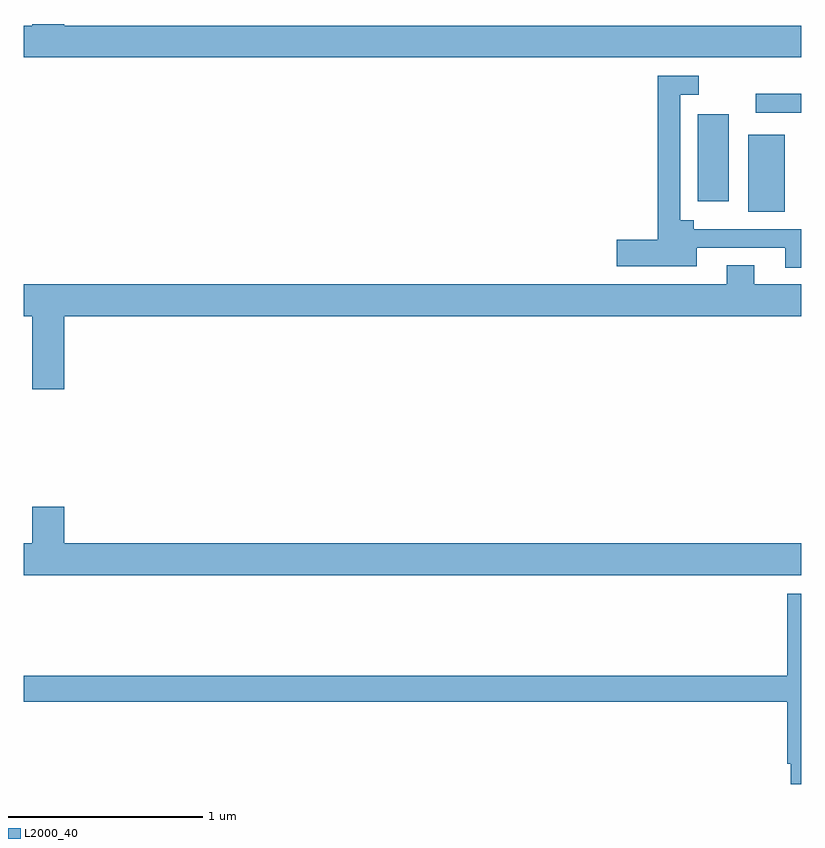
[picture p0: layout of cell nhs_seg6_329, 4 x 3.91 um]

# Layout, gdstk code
import gdstk
lib = gdstk.Library(unit=1e-6, precision=1e-09)
def R(c, l, rs):  # rectangles x0, y0, x1, y1
    for r in rs: c.add(gdstk.rectangle(r[:2], r[2:], *l))
def P(c, l, *ps):  # polygons
    for p in ps: c.add(gdstk.Polygon(p, *l))
L2000_40 = (2000, 40)

nhs_seg6_329 = lib.new_cell('nhs_seg6_329')
R(nhs_seg6_329, L2000_40, [(132.728,954.533,132.916,954.931), (132.467,954.588,132.628,955.036), (132.765,955.044,133,955.14)])
P(nhs_seg6_329, L2000_40, [(133,955.492),(129.208,955.492),(129.208,955.5),(129.044,955.5),(129.044,955.492),(129,955.492),(129,955.328),(133,955.328)],
  [(133,954.444),(132.448,954.444),(132.448,954.49),(132.378,954.49),(132.378,955.137),(132.472,955.137),(132.472,955.233),(132.262,955.233),(132.262,954.389),(132.051,954.389),(132.051,954.254),(132.463,954.254),(132.463,954.348),(132.917,954.348),(132.917,954.246),(133,954.246)],
  [(129.208,953.996),(133,953.996),(133,954.16),(132.757,954.16),(132.757,954.259),(132.617,954.259),(132.617,954.16),(129,954.16),(129,953.996),(129.044,953.996),(129.044,953.622),(129.208,953.622)],
  [(133,952.828),(129.208,952.828),(129.208,953.017),(129.044,953.017),(129.044,952.828),(129,952.828),(129,952.664),(133,952.664)],
  [(133,952.569),(132.928,952.569),(132.928,952.148),(129,952.148),(129,952.012),(132.928,952.012),(132.928,951.694),(132.947,951.694),(132.947,951.59),(133,951.59)])

lib.write_gds('nhs_seg6_329.gds')
